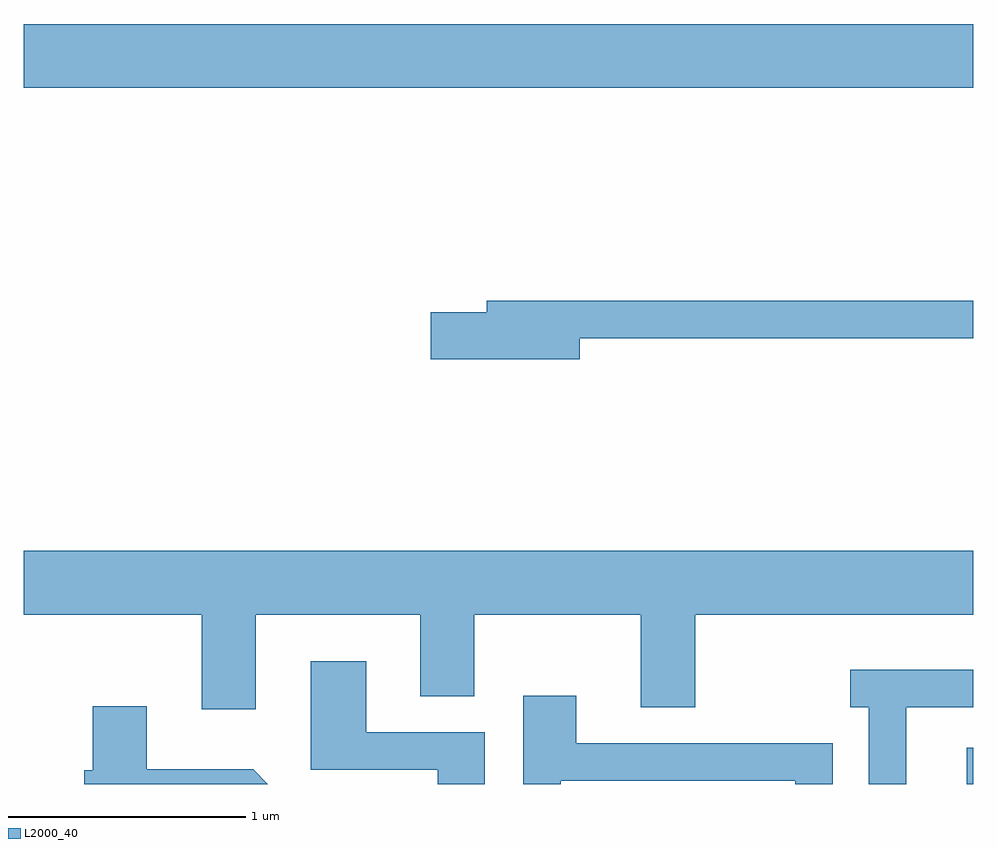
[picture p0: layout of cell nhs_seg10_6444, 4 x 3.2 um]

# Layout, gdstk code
import gdstk
lib = gdstk.Library(unit=1e-6, precision=1e-09)
def R(c, l, rs):  # rectangles x0, y0, x1, y1
    for r in rs: c.add(gdstk.rectangle(r[:2], r[2:], *l))
def P(c, l, *ps):  # polygons
    for p in ps: c.add(gdstk.Polygon(p, *l))
L2000_40 = (2000, 40)

nhs_seg10_6444 = lib.new_cell('nhs_seg10_6444')
R(nhs_seg10_6444, L2000_40, [(379.583,2126.522,379.611,2126.674), (375.611,2129.456,379.611,2129.724)])
P(nhs_seg10_6444, L2000_40, [(377.954,2128.401),(379.611,2128.401),(379.611,2128.559),(377.561,2128.559),(377.561,2128.509),(377.326,2128.509),(377.326,2128.311),(377.954,2128.311)],
  [(376.589,2127.236),(377.281,2127.236),(377.281,2126.891),(377.509,2126.891),(377.509,2127.236),(378.211,2127.236),(378.211,2126.846),(378.439,2126.846),(378.439,2127.236),(379.611,2127.236),(379.611,2127.504),(375.611,2127.504),(375.611,2127.236),(376.361,2127.236),(376.361,2126.836),(376.589,2126.836)],
  [(377.554,2126.739),(377.054,2126.739),(377.054,2127.039),(376.821,2127.039),(376.821,2126.581),(377.356,2126.581),(377.356,2126.522),(377.554,2126.522)],
  [(379.329,2126.846),(379.611,2126.846),(379.611,2127.004),(379.093,2127.004),(379.093,2126.846),(379.171,2126.846),(379.171,2126.522),(379.329,2126.522)],
  [(377.874,2126.536),(378.861,2126.536),(378.861,2126.522),(379.019,2126.522),(379.019,2126.694),(377.939,2126.694),(377.939,2126.894),(377.716,2126.894),(377.716,2126.522),(377.874,2126.522)],
  [(376.577,2126.584),(376.129,2126.584),(376.129,2126.849),(375.901,2126.849),(375.901,2126.579),(375.866,2126.579),(375.866,2126.522),(376.639,2126.522)])

lib.write_gds('nhs_seg10_6444.gds')
